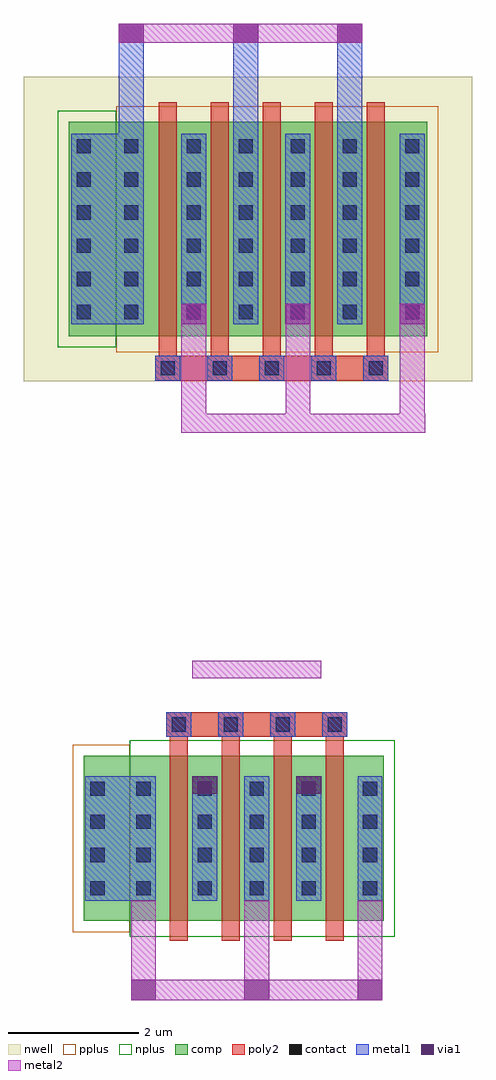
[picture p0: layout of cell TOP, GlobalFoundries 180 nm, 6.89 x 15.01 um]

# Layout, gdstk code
import gdstk
lib = gdstk.Library(unit=1e-6, precision=5e-09)
def R(c, l, rs):  # rectangles x0, y0, x1, y1
    for r in rs: c.add(gdstk.rectangle(r[:2], r[2:], *l))
def A(c, l, x, y, w, h, nx, ny, dx, dy):  # array of equal rectangles
    R(c, l, [(x+i*dx, y+j*dy, x+i*dx+w, y+j*dy+h) for i in range(nx) for j in range(ny)])
nwell = (21, 0)
comp = (22, 0)
poly2 = (30, 0)
pplus = (31, 0)
nplus = (32, 0)
contact = (33, 0)
metal1 = (34, 0)
via1 = (35, 0)
metal2 = (36, 0)

nfet_1 = lib.new_cell('nfet$1')
R(nfet_1, comp, [(-4.19,0,-3.48,2.54), (-3.48,0,-3.06,2.54), (-3.06,0,0,2.54), (0,0,0.42,2.54)])
A(nfet_1, poly2, -2.87, -0.3, 0.28, 3.14, 4, 1, 0.8, 0)
A(nfet_1, poly2, -2.91, 2.84, 0.36, 0.36, 4, 1, 0.8, 0)
R(nfet_1, pplus, [(-4.36,-0.17,-3.48,2.71)])
R(nfet_1, nplus, [(-3.48,-0.24,0.59,2.78)])
A(nfet_1, contact, -4.09, 0.395, 0.22, 0.22, 1, 4, 0, 0.51)
A(nfet_1, contact, -3.38, 0.395, 0.22, 0.22, 1, 4, 0, 0.51)
A(nfet_1, contact, -2.44, 0.395, 0.22, 0.22, 3, 4, 0.8, 0.51)
A(nfet_1, contact, 0.1, 0.395, 0.22, 0.22, 1, 4, 0, 0.51)
A(nfet_1, contact, -2.84, 2.91, 0.22, 0.22, 4, 1, 0.8, 0)
A(nfet_1, metal1, -2.52, 0.315, 0.38, 1.91, 3, 1, 0.8, 0)
A(nfet_1, metal1, -2.92, 2.83, 0.38, 0.38, 4, 1, 0.8, 0)
R(nfet_1, metal1, [(-4.17,0.315,-3.79,2.225), (-3.46,0.315,-3.08,2.225), (0.02,0.315,0.4,2.225)])

pfet = lib.new_cell('pfet')
R(pfet, nwell, [(-5.74,-0.69,1.15,3.99)])
R(pfet, comp, [(-5.05,0,-4.32,3.3), (-4.32,0,-3.86,3.3), (-3.86,0,0,3.3), (0,0,0.46,3.3)])
A(pfet, poly2, -3.72, -0.68, 0.38, 0.38, 5, 1, 0.8, 0)
A(pfet, poly2, -3.67, -0.3, 0.28, 3.9, 5, 1, 0.8, 0)
R(pfet, pplus, [(-4.32,-0.24,0.63,3.54)])
R(pfet, nplus, [(-5.22,-0.17,-4.32,3.47)])
A(pfet, contact, -3.64, -0.6, 0.22, 0.22, 5, 1, 0.8, 0)
A(pfet, contact, -4.93, 0.265, 0.22, 0.22, 1, 6, 0, 0.51)
A(pfet, contact, -4.2, 0.265, 0.22, 0.22, 1, 6, 0, 0.51)
A(pfet, contact, -3.24, 0.265, 0.22, 0.22, 4, 6, 0.8, 0.51)
A(pfet, contact, 0.12, 0.265, 0.22, 0.22, 1, 6, 0, 0.51)
A(pfet, metal1, -3.72, -0.68, 0.38, 0.38, 5, 1, 0.8, 0)
A(pfet, metal1, -3.32, 0.185, 0.38, 2.93, 4, 1, 0.8, 0)
R(pfet, metal1, [(-5.01,0.185,-4.63,3.115), (-4.28,0.185,-3.9,3.115), (0.04,0.185,0.42,3.115)])

top = lib.new_cell('TOP')
R(top, nwell, [(-12.23,12.31,-9.45,12.69), (-12.4,17.79,-8.82,18.17)])
R(top, poly2, [(-12.23,12.31,-9.45,12.69), (-12.4,17.79,-8.82,18.17)])
R(top, metal1, [(-13.48,9.795,-12.39,11.705), (-13.69,18.655,-12.58,21.585), (-12.96,21.585,-12.58,23.275), (-11.2,21.585,-10.82,23.275), (-9.6,21.585,-9.22,23.275)])
R(top, via1, [(-12.77,8.265,-12.39,8.58), (-12.77,8.265,-12.39,8.58), (-11.03,8.265,-10.65,8.58), (-11.03,8.265,-10.65,8.58), (-9.29,8.265,-8.91,8.58), (-9.29,8.265,-8.91,8.58), (-11.83,11.435,-11.45,11.705), (-10.23,11.435,-9.85,11.705), (-12,18.655,-11.62,18.97), (-10.4,18.655,-10.02,18.97), (-8.635,18.655,-8.255,18.97), (-12.96,22.985,-12.58,23.275), (-11.2,22.985,-10.82,23.275), (-9.6,22.985,-9.22,23.275), (-9.6,22.985,-9.22,23.275)])
R(top, metal2, [(-12.77,8.265,-8.91,8.58), (-12.77,8.265,-12.39,9.795), (-12.77,8.265,-12.39,9.795), (-11.03,8.265,-10.65,9.795), (-11.03,8.265,-10.65,9.795), (-9.29,8.265,-8.91,9.795), (-9.29,8.265,-8.91,9.795), (-11.83,13.21,-9.85,13.48), (-12,16.99,-8.25,17.28), (-12,16.99,-11.62,18.97), (-10.395,16.99,-10.02,18.97), (-8.64,16.99,-8.255,18.97), (-12.96,22.985,-9.22,23.275)])
top.add(gdstk.Reference(nfet_1, (-9.31,9.48)))
top.add(gdstk.Reference(pfet, (-8.68,18.47)))

lib.write_gds('TOP.gds')
